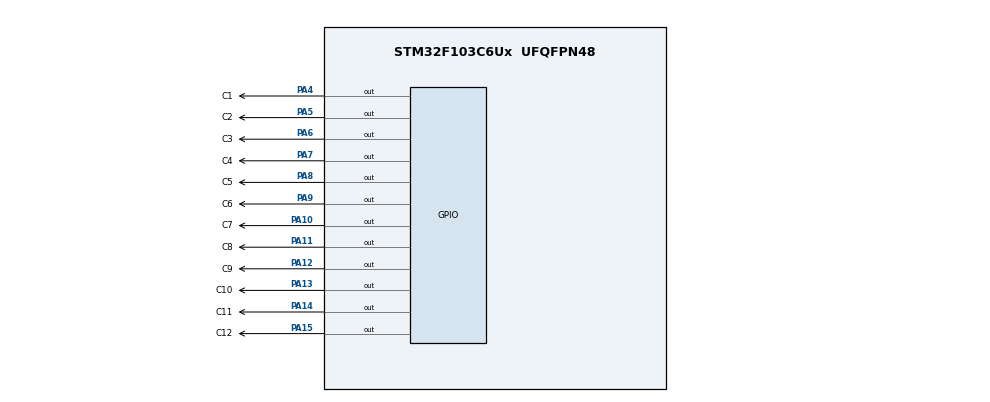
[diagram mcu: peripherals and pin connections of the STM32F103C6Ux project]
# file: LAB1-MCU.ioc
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Mcu.Family=STM32F1
Mcu.Name=STM32F103C6Ux
Mcu.Package=UFQFPN48
NVIC.PriorityGroup=NVIC_PRIORITYGROUP_4
PA10.GPIO_Label=C7
PA10.Signal=GPIO_Output
PA11.GPIO_Label=C8
PA11.Signal=GPIO_Output
PA12.GPIO_Label=C9
PA12.Signal=GPIO_Output
PA13.GPIO_Label=C10
PA13.Signal=GPIO_Output
PA14.GPIO_Label=C11
PA14.Signal=GPIO_Output
PA15.GPIO_Label=C12
PA15.Signal=GPIO_Output
PA4.GPIO_Label=C1
PA4.Signal=GPIO_Output
PA5.GPIO_Label=C2
PA5.Signal=GPIO_Output
PA6.GPIO_Label=C3
PA6.Signal=GPIO_Output
PA7.GPIO_Label=C4
PA7.Signal=GPIO_Output
PA8.GPIO_Label=C5
PA8.Signal=GPIO_Output
PA9.GPIO_Label=C6
PA9.Signal=GPIO_Output
ProjectManager.HeapSize=0x200
ProjectManager.StackSize=0x400
ProjectManager.TargetToolchain=STM32CubeIDE
RCC.APB1Freq_Value=8000000
RCC.APB2Freq_Value=8000000
VP_SYS_VS_ND.Mode=No_Debug
board=custom

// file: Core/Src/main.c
/* USER CODE BEGIN Header */
/**
 ******************************************************************************
 * @file           : main.c
 * @brief          : Main program body
 ******************************************************************************
 * @attention
 *
 * <h2><center>&copy; Copyright (c) 2023 STMicroelectronics.
 * All rights reserved.</center></h2>
 *
 * This software component is licensed by ST under BSD 3-Clause license,
 * the "License"; You may not use this file except in compliance with the
 * License. You may obtain a copy of the License at:
 *                        opensource.org/licenses/BSD-3-Clause
 *
 ******************************************************************************
 */
/* USER CODE END Header */
#include "main.h"

void SystemClock_Config(void);
static void MX_GPIO_Init(void);

int main(void)
{

  /* MCU Configuration--------------------------------------------------------*/

  /* Reset of all peripherals, Initializes the Flash interface and the Systick. */
  HAL_Init();

  /* Configure the system clock */
  SystemClock_Config();

  /* Initialize all configured peripherals */
  MX_GPIO_Init();

  /* Infinite loop */
  /* USER CODE BEGIN WHILE */
  void setNumberOnClock(int num)
  {
    num++;
    switch (num)
    {
    case 1:
      HAL_GPIO_WritePin(GPIOA, C1_Pin, GPIO_PIN_SET); // Set (HIGH) C1 to turn it on
      break;
    case 2:
      HAL_GPIO_WritePin(GPIOA, C2_Pin, GPIO_PIN_SET);
      break;
    case 3:
      HAL_GPIO_WritePin(GPIOA, C3_Pin, GPIO_PIN_SET);
      break;
    case 4:
      HAL_GPIO_WritePin(GPIOA, C4_Pin, GPIO_PIN_SET);
      break;
    case 5:
      HAL_GPIO_WritePin(GPIOA, C5_Pin, GPIO_PIN_SET);
      break;
    case 6:
      HAL_GPIO_WritePin(GPIOA, C6_Pin, GPIO_PIN_SET);
      break;
    case 7:
      HAL_GPIO_WritePin(GPIOA, C7_Pin, GPIO_PIN_SET);
      break;
    case 8:
      HAL_GPIO_WritePin(GPIOA, C8_Pin, GPIO_PIN_SET);
      break;
    case 9:
      HAL_GPIO_WritePin(GPIOA, C9_Pin, GPIO_PIN_SET);
      break;
    case 10:
      HAL_GPIO_WritePin(GPIOA, C10_Pin, GPIO_PIN_SET);
      break;
    case 11:
      HAL_GPIO_WritePin(GPIOA, C11_Pin, GPIO_PIN_SET);
      break;
    case 12:
      HAL_GPIO_WritePin(GPIOA, C12_Pin, GPIO_PIN_SET);
      break;
    default:
      // Handle invalid num here
      break;
    }
  }
  void clearAllClock()
  {
    HAL_GPIO_WritePin(GPIOA, C1_Pin | C2_Pin | C3_Pin | C4_Pin | C5_Pin | C6_Pin | C7_Pin | C8_Pin | C9_Pin | C10_Pin | C11_Pin | C12_Pin,
                      GPIO_PIN_RESET); // Reset (LOW) all pins
  }
  void clearNumberOnClock(int num)
  {
    num++;
    switch (num)
    {
    case 1:
      HAL_GPIO_WritePin(GPIOA, C1_Pin, GPIO_PIN_RESET); // Set (HIGH) C1 to turn it off
      break;
    case 2:
      HAL_GPIO_WritePin(GPIOA, C2_Pin, GPIO_PIN_RESET);
      break;
    case 3:
      HAL_GPIO_WritePin(GPIOA, C3_Pin, GPIO_PIN_RESET);
      break;
    case 4:
      HAL_GPIO_WritePin(GPIOA, C4_Pin, GPIO_PIN_RESET);
      break;
    case 5:
      HAL_GPIO_WritePin(GPIOA, C5_Pin, GPIO_PIN_RESET);
      break;
    case 6:
      HAL_GPIO_WritePin(GPIOA, C6_Pin, GPIO_PIN_RESET);
      break;
    case 7:
      HAL_GPIO_WritePin(GPIOA, C7_Pin, GPIO_PIN_RESET);
      break;
    case 8:
      HAL_GPIO_WritePin(GPIOA, C8_Pin, GPIO_PIN_RESET);
      break;
    case 9:
      HAL_GPIO_WritePin(GPIOA, C9_Pin, GPIO_PIN_RESET);
      break;
    case 10:
      HAL_GPIO_WritePin(GPIOA, C10_Pin, GPIO_PIN_RESET);
      break;
    case 11:
      HAL_GPIO_WritePin(GPIOA, C11_Pin, GPIO_PIN_RESET);
      break;
    case 12:
      HAL_GPIO_WritePin(GPIOA, C12_Pin, GPIO_PIN_RESET);
      break;
    default:
      // Handle invalid num here
      break;
    }
  }
  int hour = 0;
  int minute = 0;
  int second = 0;

  while (1)
  {
    /* USER CODE END WHILE */

    /* USER CODE BEGIN 3 */
    clearAllClock();
    setNumberOnClock(hour);
    setNumberOnClock(minute / 5);
    setNumberOnClock(second / 5);
    second++;
    if (second == 60)
    {
      second = 0;
      minute++;
    }
    if (minute == 60)
    {
      minute = 0;
      hour++;
    }
    if (hour == 12)
    {
      hour = 0;
    }
    HAL_Delay(10);
  }
  /* USER CODE END 3 */
}

void SystemClock_Config(void)
{
  RCC_OscInitTypeDef RCC_OscInitStruct = {0};
  RCC_ClkInitTypeDef RCC_ClkInitStruct = {0};

  /** Initializes the RCC Oscillators according to the specified parameters
   * in the RCC_OscInitTypeDef structure.
   */
  RCC_OscInitStruct.OscillatorType = RCC_OSCILLATORTYPE_HSI;
  RCC_OscInitStruct.HSIState = RCC_HSI_ON;
  RCC_OscInitStruct.HSICalibrationValue = RCC_HSICALIBRATION_DEFAULT;
  RCC_OscInitStruct.PLL.PLLState = RCC_PLL_NONE;
  if (HAL_RCC_OscConfig(&RCC_OscInitStruct) != HAL_OK)
  {
    Error_Handler();
  }
  /** Initializes the CPU, AHB and APB buses clocks
   */
  RCC_ClkInitStruct.ClockType = RCC_CLOCKTYPE_HCLK | RCC_CLOCKTYPE_SYSCLK | RCC_CLOCKTYPE_PCLK1 | RCC_CLOCKTYPE_PCLK2;
  RCC_ClkInitStruct.SYSCLKSource = RCC_SYSCLKSOURCE_HSI;
  RCC_ClkInitStruct.AHBCLKDivider = RCC_SYSCLK_DIV1;
  RCC_ClkInitStruct.APB1CLKDivider = RCC_HCLK_DIV1;
  RCC_ClkInitStruct.APB2CLKDivider = RCC_HCLK_DIV1;

  if (HAL_RCC_ClockConfig(&RCC_ClkInitStruct, FLASH_LATENCY_0) != HAL_OK)
  {
    Error_Handler();
  }
}

static void MX_GPIO_Init(void)
{
  GPIO_InitTypeDef GPIO_InitStruct = {0};

  /* GPIO Ports Clock Enable */
  __HAL_RCC_GPIOA_CLK_ENABLE();

  /*Configure GPIO pin Output Level */
  HAL_GPIO_WritePin(GPIOA, C1_Pin | C2_Pin | C3_Pin | C4_Pin | C5_Pin | C6_Pin | C7_Pin | C8_Pin | C9_Pin | C10_Pin | C11_Pin | C12_Pin, GPIO_PIN_RESET);

  /*Configure GPIO pins : C1_Pin C2_Pin C3_Pin C4_Pin
                           C5_Pin C6_Pin C7_Pin C8_Pin
                           C9_Pin C10_Pin C11_Pin C12_Pin */
  GPIO_InitStruct.Pin = C1_Pin | C2_Pin | C3_Pin | C4_Pin | C5_Pin | C6_Pin | C7_Pin | C8_Pin | C9_Pin | C10_Pin | C11_Pin | C12_Pin;
  GPIO_InitStruct.Mode = GPIO_MODE_OUTPUT_PP;
  GPIO_InitStruct.Pull = GPIO_NOPULL;
  GPIO_InitStruct.Speed = GPIO_SPEED_FREQ_LOW;
  HAL_GPIO_Init(GPIOA, &GPIO_InitStruct);
}

void Error_Handler(void)
{
  __disable_irq();
  while (1)
  {
  }
}

/************************ (C) COPYRIGHT STMicroelectronics *****END OF FILE****/
